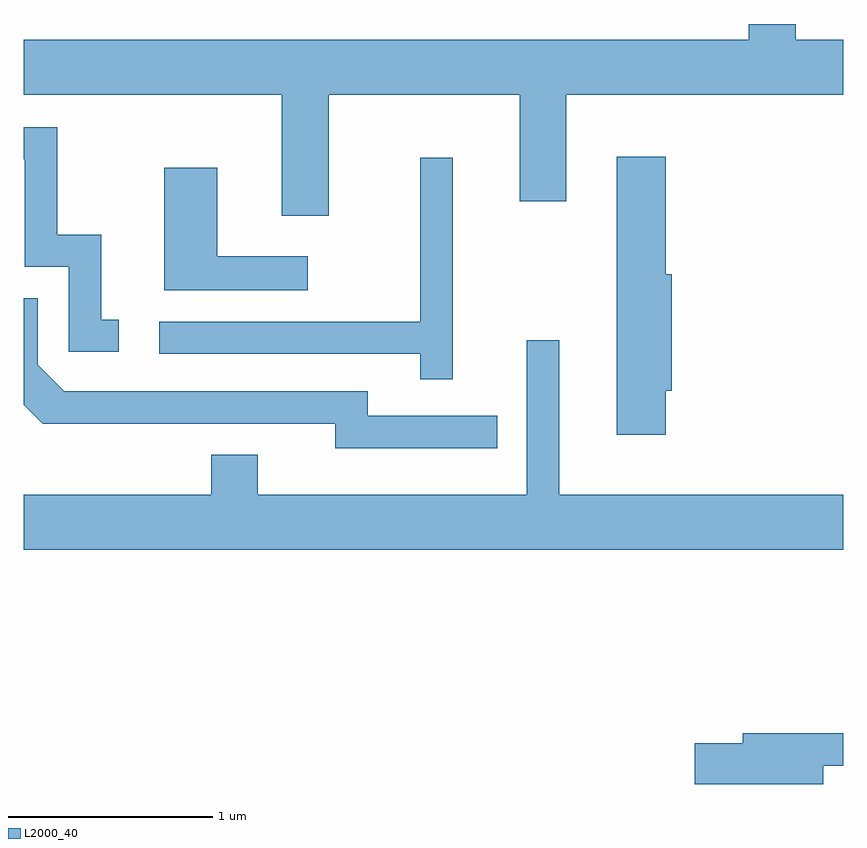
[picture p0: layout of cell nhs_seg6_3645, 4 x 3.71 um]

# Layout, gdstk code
import gdstk
lib = gdstk.Library(unit=1e-6, precision=1e-09)
def P(c, l, *ps):  # polygons
    for p in ps: c.add(gdstk.Polygon(p, *l))
L2000_40 = (2000, 40)

nhs_seg6_3645 = lib.new_cell('nhs_seg6_3645')
P(nhs_seg6_3645, L2000_40, [(297.099,1547.816),(298.031,1547.816),(298.031,1547.296),(298.259,1547.296),(298.259,1547.816),(299.611,1547.816),(299.611,1548.084),(299.379,1548.084),(299.379,1548.162),(299.151,1548.162),(299.151,1548.084),(295.611,1548.084),(295.611,1547.816),(296.871,1547.816),(296.871,1547.226),(297.099,1547.226)],
  [(296.073,1546.719),(295.989,1546.719),(295.989,1547.134),(295.774,1547.134),(295.774,1547.659),(295.611,1547.659),(295.611,1547.501),(295.616,1547.501),(295.616,1546.976),(295.831,1546.976),(295.831,1546.561),(296.073,1546.561)],
  [(298.744,1546.371),(298.774,1546.371),(298.774,1546.939),(298.744,1546.939),(298.744,1547.514),(298.506,1547.514),(298.506,1546.156),(298.744,1546.156)],
  [(297.704,1547.508),(297.546,1547.508),(297.546,1546.709),(296.273,1546.709),(296.273,1546.551),(297.546,1546.551),(297.546,1546.428),(297.704,1546.428)],
  [(296.998,1547.029),(296.554,1547.029),(296.554,1547.459),(296.296,1547.459),(296.296,1546.861),(296.998,1546.861)],
  [(297.923,1546.249),(297.289,1546.249),(297.289,1546.369),(295.807,1546.369),(295.679,1546.497),(295.679,1546.824),(295.611,1546.824),(295.611,1546.304),(295.704,1546.211),(297.131,1546.211),(297.131,1546.091),(297.923,1546.091)],
  [(299.611,1545.864),(298.224,1545.864),(298.224,1546.618),(298.066,1546.618),(298.066,1545.864),(296.754,1545.864),(296.754,1546.059),(296.526,1546.059),(296.526,1545.864),(295.611,1545.864),(295.611,1545.596),(299.611,1545.596)],
  [(299.514,1544.541),(299.611,1544.541),(299.611,1544.699),(299.121,1544.699),(299.121,1544.649),(298.886,1544.649),(298.886,1544.451),(299.514,1544.451)])

lib.write_gds('nhs_seg6_3645.gds')
